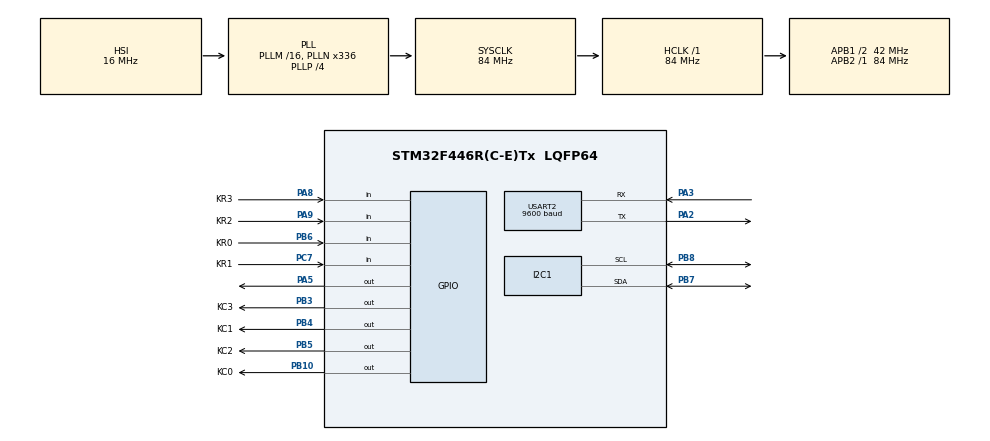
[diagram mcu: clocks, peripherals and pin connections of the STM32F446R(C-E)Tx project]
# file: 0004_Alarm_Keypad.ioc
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FREERTOS.Tasks01=OLEDTask,24,128,StartOLEDTask,Default,NULL,Dynamic,NULL,NULL;KeypadTask,24,128,StartKeypadTask,Default,NULL,Dynamic,NULL,NULL
I2C1.I2C_Mode=I2C_Fast
Mcu.Family=STM32F4
Mcu.Name=STM32F446R(C-E)Tx
Mcu.Package=LQFP64
NVIC.PriorityGroup=NVIC_PRIORITYGROUP_4
NVIC.TIM6_DAC_IRQn=true\:15\:0\:false\:false\:true\:false\:false\:true\:true
NVIC.TimeBase=TIM6_DAC_IRQn
NVIC.TimeBaseIP=TIM6
PA13.Mode=Serial_Wire
PA13.Signal=SYS_JTMS-SWDIO
PA14.Mode=Serial_Wire
PA14.Signal=SYS_JTCK-SWCLK
PA2.Mode=Asynchronous
PA2.Signal=USART2_TX
PA3.Mode=Asynchronous
PA3.Signal=USART2_RX
PA5.Signal=GPIO_Output
PA8.GPIO_Label=KR3
PA8.GPIO_PuPd=GPIO_PULLDOWN
PA8.Signal=GPIO_Input
PA9.GPIO_Label=KR2
PA9.GPIO_PuPd=GPIO_PULLDOWN
PA9.Signal=GPIO_Input
PB10.GPIO_Label=KC0
PB10.Signal=GPIO_Output
PB3.GPIO_Label=KC3
PB3.Signal=GPIO_Output
PB4.GPIO_Label=KC1
PB4.Signal=GPIO_Output
PB5.GPIO_Label=KC2
PB5.Signal=GPIO_Output
PB6.GPIO_Label=KR0
PB6.GPIO_PuPd=GPIO_PULLDOWN
PB6.Signal=GPIO_Input
PB7.Mode=I2C
PB7.Signal=I2C1_SDA
PB8.Mode=I2C
PB8.Signal=I2C1_SCL
PC14-OSC32_IN.Mode=LSE-External-Oscillator
PC14-OSC32_IN.Signal=RCC_OSC32_IN
PC15-OSC32_OUT.Mode=LSE-External-Oscillator
PC15-OSC32_OUT.Signal=RCC_OSC32_OUT
PC7.GPIO_Label=KR1
PC7.GPIO_PuPd=GPIO_PULLDOWN
PC7.Signal=GPIO_Input
PH0-OSC_IN.Mode=HSE-External-Oscillator
PH0-OSC_IN.Signal=RCC_OSC_IN
PH1-OSC_OUT.Mode=HSE-External-Oscillator
PH1-OSC_OUT.Signal=RCC_OSC_OUT
ProjectManager.HeapSize=0x200
ProjectManager.StackSize=0x400
ProjectManager.TargetToolchain=STM32CubeIDE
RCC.48MHZClocksFreq_Value=84000000
RCC.AHBFreq_Value=84000000
RCC.APB1CLKDivider=RCC_HCLK_DIV2
RCC.APB1Freq_Value=42000000
RCC.APB1TimFreq_Value=84000000
RCC.APB2Freq_Value=84000000
RCC.APB2TimFreq_Value=84000000
RCC.CortexFreq_Value=84000000
RCC.FLatency-AdvancedSettings=FLASH_LATENCY_2
RCC.HCLKFreq_Value=84000000
RCC.HSE_VALUE=8000000
RCC.HSI_VALUE=16000000
RCC.PLLN=336
RCC.PLLP=RCC_PLLP_DIV4
RCC.SYSCLKFreq_VALUE=84000000
RCC.SYSCLKSource=RCC_SYSCLKSOURCE_PLLCLK
RCC.USBFreq_Value=168000000
RCC.VCOOutputFreq_Value=336000000
USART2.BaudRate=9600
USART2.VirtualMode=VM_ASYNC
VP_FREERTOS_VS_CMSIS_V2.Mode=CMSIS_V2
VP_SYS_VS_tim6.Mode=TIM6
board=NUCLEO-F446RE

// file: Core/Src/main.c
/* USER CODE BEGIN Header */
/**
  ******************************************************************************
  * @file           : main.c
  * @brief          : Main program body
  ******************************************************************************
  * @attention
  *
  * Copyright (c) 2024 STMicroelectronics.
  * All rights reserved.
  *
  * This software is licensed under terms that can be found in the LICENSE file
  * in the root directory of this software component.
  * If no LICENSE file comes with this software, it is provided AS-IS.
  *
  ******************************************************************************
  */
/* USER CODE END Header */
#include "main.h"
#include "cmsis_os.h"

/* USER CODE BEGIN Includes */
#include "Keypad4X4.h"
#include <stdio.h>
#include <string.h>
#include <stdlib.h>
#include "fonts.h"
#include "ssd1306.h"

/* USER CODE END Includes */

I2C_HandleTypeDef hi2c1;

UART_HandleTypeDef huart2;

/* Definitions for OLEDTask */
osThreadId_t OLEDTaskHandle;
const osThreadAttr_t OLEDTask_attributes = {
  .name = "OLEDTask",
  .stack_size = 128 * 4,
  .priority = (osPriority_t) osPriorityNormal,
};
/* Definitions for KeypadTask */
osThreadId_t KeypadTaskHandle;
const osThreadAttr_t KeypadTask_attributes = {
  .name = "KeypadTask",
  .stack_size = 128 * 4,
  .priority = (osPriority_t) osPriorityNormal,
};
/* USER CODE BEGIN PV */
extern char key;
char hold[4];
char password[4] = "1111";
bool oledUpdate = false;

/* USER CODE END PV */

void SystemClock_Config(void);
static void MX_GPIO_Init(void);
static void MX_USART2_UART_Init(void);
static void MX_I2C1_Init(void);
void StartOLEDTask(void *argument);
void StartKeypadTask(void *argument);

/* USER CODE BEGIN PFP */

bool isArmed = false;

/* USER CODE END PFP */

int main(void)
{

  /* MCU Configuration--------------------------------------------------------*/

  /* Reset of all peripherals, Initializes the Flash interface and the Systick. */
  HAL_Init();

  /* Configure the system clock */
  SystemClock_Config();

  /* Initialize all configured peripherals */
  MX_GPIO_Init();
  MX_USART2_UART_Init();
  MX_I2C1_Init();
  /* USER CODE BEGIN 2 */
  /* USER CODE BEGIN 2 */
    SSD1306_Init();
//    SSD1306_GotoXY (0,0);
//    SSD1306_Puts ("Enter Code:", &Font_11x18, 1);
//    SSD1306_GotoXY (0, 30);
//    SSD1306_UpdateScreen();
//    SSD1306_UpdateScreen();
//    HAL_Delay (500);

  /* USER CODE END 2 */

  /* Init scheduler */
  osKernelInitialize();

  /* Create the thread(s) */
  /* creation of OLEDTask */
  OLEDTaskHandle = osThreadNew(StartOLEDTask, NULL, &OLEDTask_attributes);

  /* creation of KeypadTask */
  KeypadTaskHandle = osThreadNew(StartKeypadTask, NULL, &KeypadTask_attributes);

  /* Start scheduler */
  osKernelStart();

  /* We should never get here as control is now taken by the scheduler */
  /* Infinite loop */
  /* USER CODE BEGIN WHILE */
//  SSD1306_GotoXY (0, 30);
//  SSD1306_UpdateScreen();
//  SSD1306_Puts ("DISARMED", &Font_11x18, 1);
//  SSD1306_UpdateScreen();
  while (1)
  {
    /* USER CODE END WHILE */

    /* USER CODE BEGIN 3 */
	/* D10 to D7 as input pins for row 0 to row 3. D6 to D3 as output for column pins C1 to C3*/
//	  key = Get_Key();
//	  sprintf(hold, "%c", key);
//	  HAL_UART_Transmit(&huart2, (uint8_t *)hold, strlen(hold), 100);
//	  SSD1306_GotoXY (0, 30);
//	  SSD1306_UpdateScreen();
//	  SSD1306_Puts (hold, &Font_11x18, 1);
//	  SSD1306_UpdateScreen();
//	  HAL_Delay (500);
  }
  /* USER CODE END 3 */
}

void SystemClock_Config(void)
{
  RCC_OscInitTypeDef RCC_OscInitStruct = {0};
  RCC_ClkInitTypeDef RCC_ClkInitStruct = {0};

  /** Configure the main internal regulator output voltage
  */
  __HAL_RCC_PWR_CLK_ENABLE();
  __HAL_PWR_VOLTAGESCALING_CONFIG(PWR_REGULATOR_VOLTAGE_SCALE3);

  /** Initializes the RCC Oscillators according to the specified parameters
  * in the RCC_OscInitTypeDef structure.
  */
  RCC_OscInitStruct.OscillatorType = RCC_OSCILLATORTYPE_HSI;
  RCC_OscInitStruct.HSIState = RCC_HSI_ON;
  RCC_OscInitStruct.HSICalibrationValue = RCC_HSICALIBRATION_DEFAULT;
  RCC_OscInitStruct.PLL.PLLState = RCC_PLL_ON;
  RCC_OscInitStruct.PLL.PLLSource = RCC_PLLSOURCE_HSI;
  RCC_OscInitStruct.PLL.PLLM = 16;
  RCC_OscInitStruct.PLL.PLLN = 336;
  RCC_OscInitStruct.PLL.PLLP = RCC_PLLP_DIV4;
  RCC_OscInitStruct.PLL.PLLQ = 2;
  RCC_OscInitStruct.PLL.PLLR = 2;
  if (HAL_RCC_OscConfig(&RCC_OscInitStruct) != HAL_OK)
  {
    Error_Handler();
  }

  /** Initializes the CPU, AHB and APB buses clocks
  */
  RCC_ClkInitStruct.ClockType = RCC_CLOCKTYPE_HCLK|RCC_CLOCKTYPE_SYSCLK
                              |RCC_CLOCKTYPE_PCLK1|RCC_CLOCKTYPE_PCLK2;
  RCC_ClkInitStruct.SYSCLKSource = RCC_SYSCLKSOURCE_PLLCLK;
  RCC_ClkInitStruct.AHBCLKDivider = RCC_SYSCLK_DIV1;
  RCC_ClkInitStruct.APB1CLKDivider = RCC_HCLK_DIV2;
  RCC_ClkInitStruct.APB2CLKDivider = RCC_HCLK_DIV1;

  if (HAL_RCC_ClockConfig(&RCC_ClkInitStruct, FLASH_LATENCY_2) != HAL_OK)
  {
    Error_Handler();
  }
}

static void MX_I2C1_Init(void)
{

  hi2c1.Instance = I2C1;
  hi2c1.Init.ClockSpeed = 400000;
  hi2c1.Init.DutyCycle = I2C_DUTYCYCLE_2;
  hi2c1.Init.OwnAddress1 = 0;
  hi2c1.Init.AddressingMode = I2C_ADDRESSINGMODE_7BIT;
  hi2c1.Init.DualAddressMode = I2C_DUALADDRESS_DISABLE;
  hi2c1.Init.OwnAddress2 = 0;
  hi2c1.Init.GeneralCallMode = I2C_GENERALCALL_DISABLE;
  hi2c1.Init.NoStretchMode = I2C_NOSTRETCH_DISABLE;
  if (HAL_I2C_Init(&hi2c1) != HAL_OK)
  {
    Error_Handler();
  }

}

static void MX_USART2_UART_Init(void)
{

  huart2.Instance = USART2;
  huart2.Init.BaudRate = 9600;
  huart2.Init.WordLength = UART_WORDLENGTH_8B;
  huart2.Init.StopBits = UART_STOPBITS_1;
  huart2.Init.Parity = UART_PARITY_NONE;
  huart2.Init.Mode = UART_MODE_TX_RX;
  huart2.Init.HwFlowCtl = UART_HWCONTROL_NONE;
  huart2.Init.OverSampling = UART_OVERSAMPLING_16;
  if (HAL_UART_Init(&huart2) != HAL_OK)
  {
    Error_Handler();
  }

}

static void MX_GPIO_Init(void)
{
  GPIO_InitTypeDef GPIO_InitStruct = {0};

  /* GPIO Ports Clock Enable */
  __HAL_RCC_GPIOC_CLK_ENABLE();
  __HAL_RCC_GPIOH_CLK_ENABLE();
  __HAL_RCC_GPIOA_CLK_ENABLE();
  __HAL_RCC_GPIOB_CLK_ENABLE();

  /*Configure GPIO pin Output Level */
  HAL_GPIO_WritePin(GPIOA, GPIO_PIN_5, GPIO_PIN_RESET);

  /*Configure GPIO pin Output Level */
  HAL_GPIO_WritePin(GPIOB, KC0_Pin|KC3_Pin|KC1_Pin|KC2_Pin, GPIO_PIN_RESET);

  /*Configure GPIO pin : PA5 */
  GPIO_InitStruct.Pin = GPIO_PIN_5;
  GPIO_InitStruct.Mode = GPIO_MODE_OUTPUT_PP;
  GPIO_InitStruct.Pull = GPIO_NOPULL;
  GPIO_InitStruct.Speed = GPIO_SPEED_FREQ_LOW;
  HAL_GPIO_Init(GPIOA, &GPIO_InitStruct);

  /*Configure GPIO pins : KC0_Pin KC3_Pin KC1_Pin KC2_Pin */
  GPIO_InitStruct.Pin = KC0_Pin|KC3_Pin|KC1_Pin|KC2_Pin;
  GPIO_InitStruct.Mode = GPIO_MODE_OUTPUT_PP;
  GPIO_InitStruct.Pull = GPIO_NOPULL;
  GPIO_InitStruct.Speed = GPIO_SPEED_FREQ_LOW;
  HAL_GPIO_Init(GPIOB, &GPIO_InitStruct);

  /*Configure GPIO pin : KR1_Pin */
  GPIO_InitStruct.Pin = KR1_Pin;
  GPIO_InitStruct.Mode = GPIO_MODE_INPUT;
  GPIO_InitStruct.Pull = GPIO_PULLDOWN;
  HAL_GPIO_Init(KR1_GPIO_Port, &GPIO_InitStruct);

  /*Configure GPIO pins : KR3_Pin KR2_Pin */
  GPIO_InitStruct.Pin = KR3_Pin|KR2_Pin;
  GPIO_InitStruct.Mode = GPIO_MODE_INPUT;
  GPIO_InitStruct.Pull = GPIO_PULLDOWN;
  HAL_GPIO_Init(GPIOA, &GPIO_InitStruct);

  /*Configure GPIO pin : KR0_Pin */
  GPIO_InitStruct.Pin = KR0_Pin;
  GPIO_InitStruct.Mode = GPIO_MODE_INPUT;
  GPIO_InitStruct.Pull = GPIO_PULLDOWN;
  HAL_GPIO_Init(KR0_GPIO_Port, &GPIO_InitStruct);

}

void StartOLEDTask(void *argument)
{
  /* USER CODE BEGIN 5 */
  /* Infinite loop */
  for(;;)
  {
//	  SSD1306_GotoXY (0, 30);
//	  SSD1306_UpdateScreen();
//	  SSD1306_Puts ("Enter code:", &Font_11x18, 1);
//	  SSD1306_UpdateScreen();
//	  HAL_Delay (500);
	  SSD1306_UpdateScreen();

	  if (isArmed) {
		  SSD1306_GotoXY (0, 30);
		  SSD1306_UpdateScreen();
		  SSD1306_Fill(SSD1306_COLOR_BLACK);
		  SSD1306_Puts ("ARMED", &Font_11x18, 1);
	  } else {
		  SSD1306_GotoXY (0, 30);
		  SSD1306_UpdateScreen();
		  SSD1306_Puts ("DISARMED", &Font_11x18, 1);
	  }

  }
  /* USER CODE END 5 */
}

void StartKeypadTask(void *argument)
{
  /* USER CODE BEGIN StartKeypadTask */
  /* Infinite loop */
  for(;;)
  {
	  for (int i = 0; i<4; i++) {
		  hold[i] = Get_Key();

		  }

//		  SSD1306_GotoXY (0, 30);
//		  SSD1306_Puts (hold, &Font_11x18, 1);
//		  SSD1306_UpdateScreen();

  isArmed = (hold[0] == password[0]) && (hold[1] == password[1]) && (hold[2] == password[2]) && (hold[3] == password[3]);

  }
  /* USER CODE END StartKeypadTask */
}

void HAL_TIM_PeriodElapsedCallback(TIM_HandleTypeDef *htim)
{
  if (htim->Instance == TIM6) {
    HAL_IncTick();
  }
}

void Error_Handler(void)
{
  __disable_irq();
  while (1)
  {
  }
}
